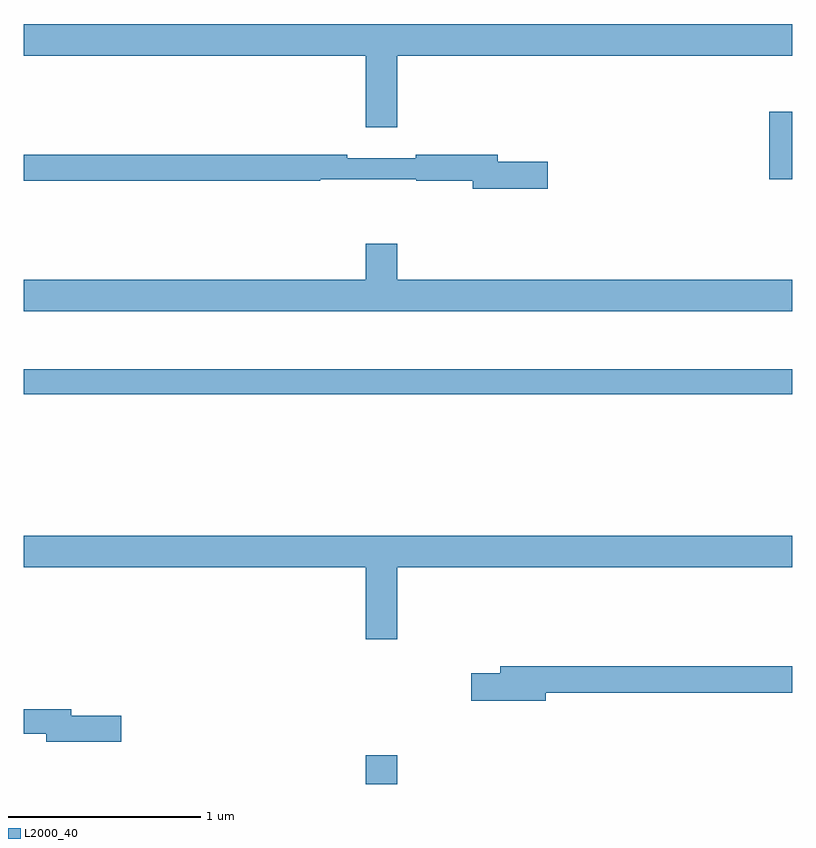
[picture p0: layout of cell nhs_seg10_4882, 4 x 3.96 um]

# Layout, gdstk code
import gdstk
lib = gdstk.Library(unit=1e-6, precision=1e-09)
def R(c, l, rs):  # rectangles x0, y0, x1, y1
    for r in rs: c.add(gdstk.rectangle(r[:2], r[2:], *l))
def P(c, l, *ps):  # polygons
    for p in ps: c.add(gdstk.Polygon(p, *l))
L2000_40 = (2000, 40)

nhs_seg10_4882 = lib.new_cell('nhs_seg10_4882')
R(nhs_seg10_4882, L2000_40, [(392.78,1320.5,392.944,1320.649), (391,1322.53,395,1322.659), (394.88,1323.647,395,1324)])
P(nhs_seg10_4882, L2000_40, [(392.944,1324.292),(395,1324.292),(395,1324.456),(391,1324.456),(391,1324.292),(392.78,1324.292),(392.78,1323.918),(392.944,1323.918)],
  [(393.727,1323.74),(393.466,1323.74),(393.466,1323.776),(393.04,1323.776),(393.04,1323.757),(392.684,1323.757),(392.684,1323.776),(391,1323.776),(391,1323.64),(392.542,1323.64),(392.542,1323.648),(393.042,1323.648),(393.042,1323.64),(393.338,1323.64),(393.338,1323.598),(393.727,1323.598)],
  [(395,1323.124),(392.944,1323.124),(392.944,1323.313),(392.78,1323.313),(392.78,1323.124),(391,1323.124),(391,1322.96),(395,1322.96)],
  [(392.944,1321.628),(395,1321.628),(395,1321.792),(391,1321.792),(391,1321.628),(392.78,1321.628),(392.78,1321.254),(392.944,1321.254)],
  [(393.718,1320.976),(395,1320.976),(395,1321.112),(393.479,1321.112),(393.479,1321.076),(393.33,1321.076),(393.33,1320.934),(393.718,1320.934)],
  [(391.507,1320.854),(391.246,1320.854),(391.246,1320.89),(391,1320.89),(391,1320.762),(391.118,1320.762),(391.118,1320.719),(391.507,1320.719)])

lib.write_gds('nhs_seg10_4882.gds')
